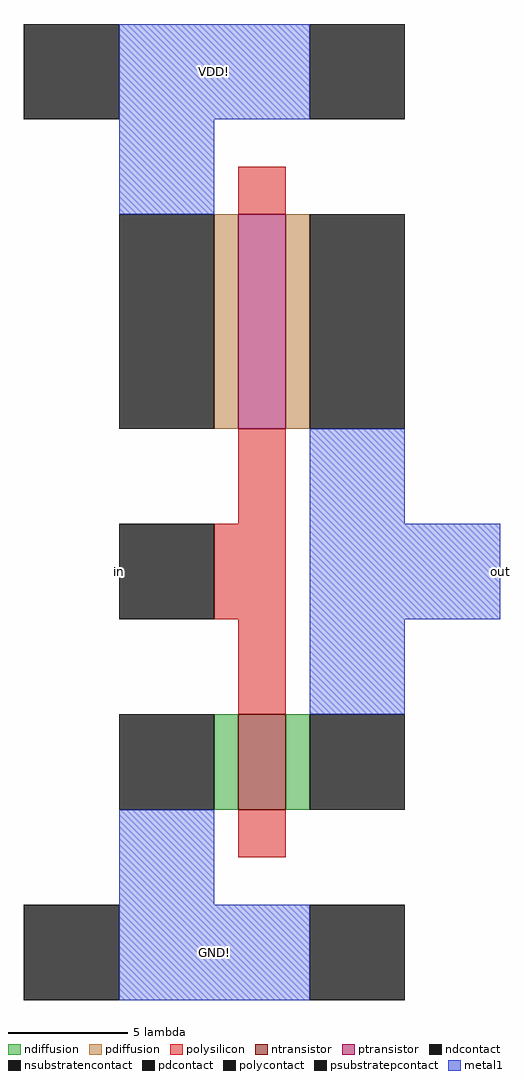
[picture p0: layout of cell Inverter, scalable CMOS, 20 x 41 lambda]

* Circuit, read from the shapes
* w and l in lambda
.subckt Inverter GND! VDD! in out
M1 out in GND! GND! nfet w=4 l=2
M2 out in VDD! VDD! pfet w=9 l=2
.ends

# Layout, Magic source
magic
tech scmos
<< ntransistor >>
rect 5 -25 7 -21
<< ptransistor >>
rect 5 -9 7 0
<< ndiffusion >>
rect 4 -25 5 -21
rect 7 -25 8 -21
<< pdiffusion >>
rect 4 -9 5 0
rect 7 -9 8 0
<< ndcontact >>
rect 0 -25 4 -21
rect 8 -25 12 -21
<< pdcontact >>
rect 0 -9 4 0
rect 8 -9 12 0
<< psubstratepcontact >>
rect -4 -33 0 -29
rect 8 -33 12 -29
<< nsubstratencontact >>
rect -4 4 0 8
rect 8 4 12 8
<< polysilicon >>
rect 5 0 7 2
rect 5 -13 7 -9
rect 4 -17 7 -13
rect 5 -21 7 -17
rect 5 -27 7 -25
<< polycontact >>
rect 0 -17 4 -13
<< metal1 >>
rect 0 4 8 8
rect 0 0 4 4
rect 8 -13 12 -9
rect 8 -17 16 -13
rect 8 -21 12 -17
rect 0 -29 4 -25
rect 0 -33 8 -29
<< labels >>
rlabel polycontact 0 -17 0 -13 3 in
rlabel metal1 16 -17 16 -13 7 out
rlabel metal1 4 6 4 6 5 VDD!
rlabel metal1 4 -31 4 -31 1 GND!
<< end >>
